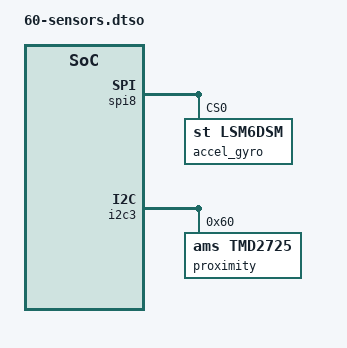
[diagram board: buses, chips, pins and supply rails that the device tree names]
/dts-v1/; /plugin/;
/* 60-sensors.dtsi — REF-A IIO accel/gyro/mag/pressure/als/prox (appendix-03A §1, ch.03 §16).
 * SRC: stock-dump (IIO compatibles + mount matrix) + measured-20260502 (ALS/prox thresholds
 * with finger + lux meter; magnetometer factory cal blob path in sensors/<sku>/ doc).
 * Host-first verify: iio_info + in_accel_*_raw changes on tilt before HAL work.
 */
/ {
	fragment@0 {
		target = <&spi8>;
		__overlay__ {
			status = "okay"; /* SRC: stock-dump */
			accel_gyro@0 {
				compatible = "st,lsm6dsm"; /* SRC: stock-dump */
				reg = <0>;
			};
		};
	};
	fragment@1 {
		target = <&i2c3>;
		__overlay__ {
			status = "okay"; /* SRC: stock-dump */
			proximity@60 {
				compatible = "ams,tmd2725"; /* SRC: stock-dump */
				reg = <0x60>;
				proximity-near-level = <200>; /* SRC: measured-20260502 — finger test */
			};
		};
	};
};
